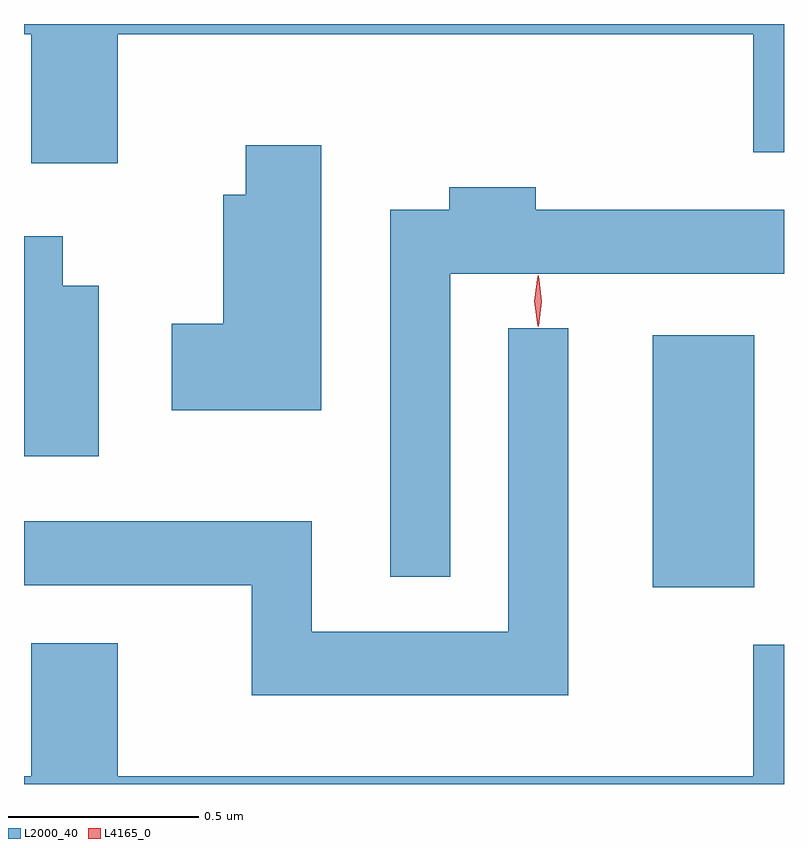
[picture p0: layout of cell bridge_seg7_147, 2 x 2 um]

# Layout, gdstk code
import gdstk
lib = gdstk.Library(unit=1e-6, precision=1e-09)
def R(c, l, rs):  # rectangles x0, y0, x1, y1
    for r in rs: c.add(gdstk.rectangle(r[:2], r[2:], *l))
def P(c, l, *ps):  # polygons
    for p in ps: c.add(gdstk.Polygon(p, *l))
L2000_40 = (2000, 40)
L4165_0 = (4165, 0)

bridge_seg7_147 = lib.new_cell('bridge_seg7_147')
R(bridge_seg7_147, L2000_40, [(1480.656,1719.521,1480.924,1720.184)])
P(bridge_seg7_147, L2000_40, [(1479.249,1720.976),(1480.921,1720.976),(1480.921,1720.666),(1481.002,1720.666),(1481.002,1721.003),(1479.002,1721.003),(1479.002,1720.976),(1479.021,1720.976),(1479.021,1720.636),(1479.249,1720.636)],
  [(1479.784,1720.684),(1479.586,1720.684),(1479.586,1720.554),(1479.526,1720.554),(1479.526,1720.214),(1479.391,1720.214),(1479.391,1719.986),(1479.784,1719.986)],
  [(1480.124,1720.346),(1481.002,1720.346),(1481.002,1720.514),(1480.349,1720.514),(1480.349,1720.574),(1480.121,1720.574),(1480.121,1720.514),(1479.966,1720.514),(1479.966,1719.548),(1480.124,1719.548)],
  [(1479.199,1720.314),(1479.104,1720.314),(1479.104,1720.444),(1479.002,1720.444),(1479.002,1719.866),(1479.199,1719.866)],
  [(1480.434,1720.203),(1480.276,1720.203),(1480.276,1719.404),(1479.759,1719.404),(1479.759,1719.694),(1479.002,1719.694),(1479.002,1719.526),(1479.601,1719.526),(1479.601,1719.236),(1480.434,1719.236)],
  [(1481.002,1719.369),(1480.921,1719.369),(1480.921,1719.024),(1479.249,1719.024),(1479.249,1719.374),(1479.021,1719.374),(1479.021,1719.024),(1479.002,1719.024),(1479.002,1719.003),(1481.002,1719.003)])
P(bridge_seg7_147, L4165_0, [(1480.354,1720.207),(1480.345,1720.274),(1480.354,1720.34),(1480.355,1720.341),(1480.356,1720.34),(1480.365,1720.274),(1480.356,1720.207),(1480.355,1720.207)])

lib.write_gds('bridge_seg7_147.gds')
